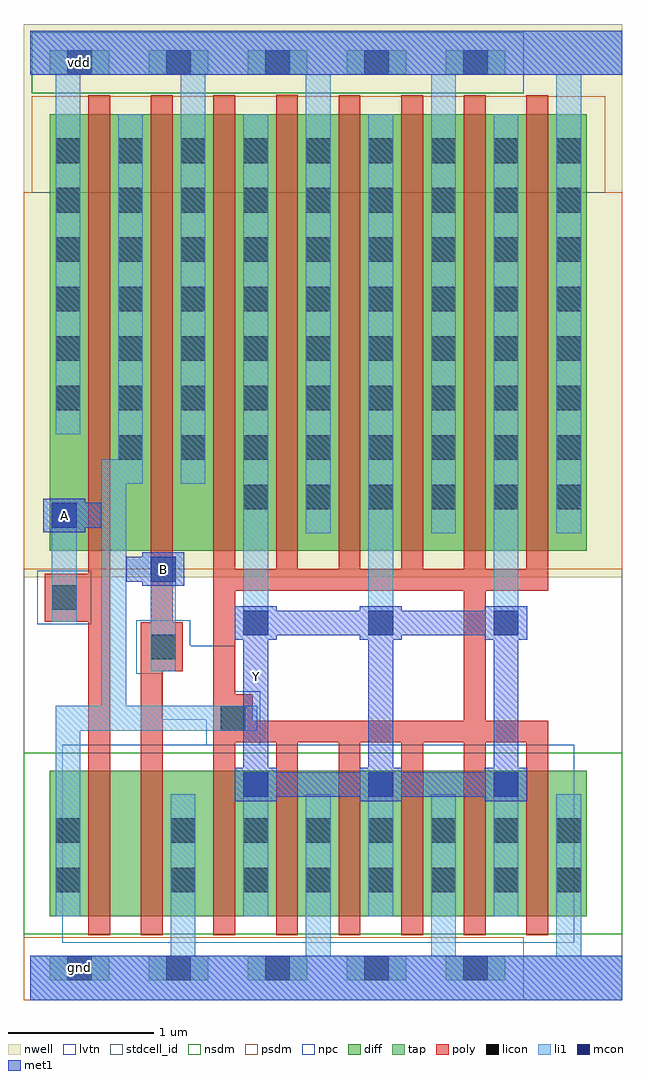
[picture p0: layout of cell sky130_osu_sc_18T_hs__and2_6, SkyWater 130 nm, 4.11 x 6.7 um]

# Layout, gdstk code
import gdstk
lib = gdstk.Library(unit=1e-6, precision=1e-09)
def R(c, l, rs):  # rectangles x0, y0, x1, y1
    for r in rs: c.add(gdstk.rectangle(r[:2], r[2:], *l))
def A(c, l, x, y, w, h, nx, ny, dx, dy):  # array of equal rectangles
    R(c, l, [(x+i*dx, y+j*dy, x+i*dx+w, y+j*dy+h) for i in range(nx) for j in range(ny)])
nwell = (64, 20)
diff = (65, 20)
tap = (65, 44)
poly = (66, 20)
licon = (66, 44)
li1 = (67, 20)
mcon = (67, 44)
met1 = (68, 20)
stdcell_id = (81, 4)
nsdm = (93, 44)
psdm = (94, 20)
npc = (95, 20)
lvtn = (125, 44)

sky130_osu_sc_18t_hs__an = lib.new_cell('sky130_osu_sc_18T_hs__and2_6')
R(sky130_osu_sc_18t_hs__an, nwell, [(-0.045,2.905,4.07,6.705)])
R(sky130_osu_sc_18t_hs__an, diff, [(0.135,0.575,3.825,1.575), (0.135,3.085,3.825,6.085)])
A(sky130_osu_sc_18t_hs__an, tap, 0.135, 0.135, 0.41, 0.17, 5, 2, 0.68, 6.22)
A(sky130_osu_sc_18t_hs__an, poly, 1.26, 0.445, 0.15, 1.325, 6, 1, 0.43, 0)
A(sky130_osu_sc_18t_hs__an, poly, 2.12, 2.96, 0.15, 3.255, 4, 1, 0.43, 0)
R(sky130_osu_sc_18t_hs__an, poly, [(0.4,0.445,0.55,2.6), (0.76,0.445,0.91,2.26), (1.26,1.77,3.56,1.92), (1.26,1.92,1.53,2.1), (2.98,1.92,3.13,2.81), (1.26,2.1,1.41,2.81), (0.76,2.26,1.05,2.595), (0.83,2.595,0.98,6.215), (0.1,2.6,0.55,2.93), (1.26,2.81,3.56,2.96), (0.4,2.93,0.55,6.215), (1.26,2.96,1.41,6.215), (1.69,2.96,1.84,6.22)])
A(sky130_osu_sc_18t_hs__an, licon, 0.255, 0.135, 0.17, 0.17, 5, 2, 0.68, 6.22)
A(sky130_osu_sc_18t_hs__an, licon, 1.465, 0.74, 0.17, 0.17, 6, 2, 0.43, 0.34)
A(sky130_osu_sc_18t_hs__an, licon, 1.465, 3.37, 0.17, 0.17, 6, 1, 0.43, 0)
A(sky130_osu_sc_18t_hs__an, licon, 0.605, 3.71, 0.17, 0.17, 8, 1, 0.43, 0)
A(sky130_osu_sc_18t_hs__an, licon, 0.175, 4.05, 0.17, 0.17, 9, 6, 0.43, 0.34)
R(sky130_osu_sc_18t_hs__an, licon, [(0.175,0.74,0.345,0.91), (0.965,0.74,1.135,0.91), (0.175,1.08,0.345,1.25), (0.965,1.08,1.135,1.25), (1.31,1.85,1.48,2.02), (0.83,2.34,1,2.51), (0.15,2.68,0.32,2.85)])
A(sky130_osu_sc_18t_hs__an, li1, 1.895, 0.305, 0.17, 1.11, 3, 1, 0.86, 0)
A(sky130_osu_sc_18t_hs__an, li1, 1.465, 0.575, 0.17, 0.99, 3, 1, 0.86, 0)
A(sky130_osu_sc_18t_hs__an, li1, 1.465, 2.505, 0.17, 3.58, 3, 1, 0.86, 0)
A(sky130_osu_sc_18t_hs__an, li1, 1.895, 3.205, 0.17, 3.15, 3, 1, 0.86, 0)
R(sky130_osu_sc_18t_hs__an, li1, [(0,0,4.07,0.305), (0.965,0.305,1.135,1.415), (0.175,0.575,0.345,1.85), (0.175,1.85,1.56,2.02), (0.49,2.02,0.66,3.545), (0.83,2.26,1,3.045), (0.15,2.6,0.32,3.415), (0.49,3.545,0.775,3.715), (1.035,3.545,1.205,6.355), (0.605,3.715,0.775,6.085), (0.175,3.885,0.345,6.355), (0,6.355,4.07,6.66)])
A(sky130_osu_sc_18t_hs__an, mcon, 1.465, 1.395, 0.17, 0.17, 3, 2, 0.86, 1.11)
R(sky130_osu_sc_18t_hs__an, mcon, [(0.83,2.875,1,3.045), (0.15,3.245,0.32,3.415)])
A(sky130_osu_sc_18t_hs__an, met1, 1.405, 1.365, 0.29, 0.03, 3, 2, 0.86, 0.2)
A(sky130_osu_sc_18t_hs__an, met1, 1.465, 1.595, 0.17, 0.88, 3, 1, 0.86, 0)
A(sky130_osu_sc_18t_hs__an, met1, 1.405, 2.475, 0.29, 0.03, 3, 2, 0.86, 0.2)
R(sky130_osu_sc_18t_hs__an, met1, [(0,0,4.07,0.305), (1.405,1.395,3.415,1.565), (1.405,2.505,3.415,2.675), (0.77,2.845,1.06,2.875), (0.66,2.875,1.06,3.045), (0.77,3.045,1.06,3.075), (0.09,3.215,0.38,3.245), (0.09,3.245,0.49,3.415), (0.09,3.415,0.38,3.445), (0,6.355,4.07,6.66)])
R(sky130_osu_sc_18t_hs__an, stdcell_id, [(-0.045,0,4.07,5.55)])
R(sky130_osu_sc_18t_hs__an, nsdm, [(-0.045,0.45,4.07,1.7), (0.01,6.23,3.39,6.65)])
R(sky130_osu_sc_18t_hs__an, psdm, [(-0.045,0,3.39,0.43), (-0.045,2.96,4.07,5.55), (0.01,5.55,3.95,6.21)])
R(sky130_osu_sc_18t_hs__an, npc, [(1.21,1.75,1.58,1.925), (0.905,1.925,1.58,2.12), (0.905,2.12,1.405,2.24), (0.73,2.24,1.405,2.435), (0.73,2.435,1.1,2.61), (0.05,2.58,0.42,2.95)])
R(sky130_osu_sc_18t_hs__an, lvtn, [(0.22,0.395,3.74,1.755)])
sky130_osu_sc_18t_hs__an.add(gdstk.Label('gnd', (0.34,0.22), layer=68, texttype=16))
sky130_osu_sc_18t_hs__an.add(gdstk.Label('vdd', (0.34,6.44), layer=68, texttype=16))
sky130_osu_sc_18t_hs__an.add(gdstk.Label('B', (0.92,2.96), layer=68, texttype=5))
sky130_osu_sc_18t_hs__an.add(gdstk.Label('A', (0.24,3.33), layer=68, texttype=5))
sky130_osu_sc_18t_hs__an.add(gdstk.Label('Y', (1.555,2.22), layer=68, texttype=5))

lib.write_gds('sky130_osu_sc_18T_hs__and2_6.gds')
